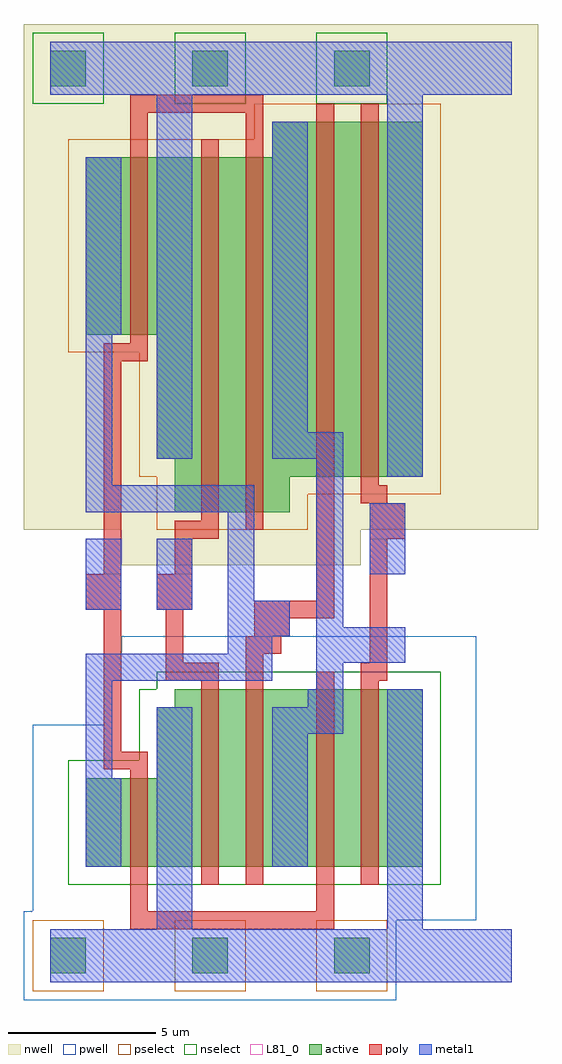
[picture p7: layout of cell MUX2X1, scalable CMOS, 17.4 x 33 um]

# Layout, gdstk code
import gdstk
lib = gdstk.Library(unit=1e-6, precision=1e-09)
def R(c, l, rs):  # rectangles x0, y0, x1, y1
    for r in rs: c.add(gdstk.rectangle(r[:2], r[2:], *l))
def A(c, l, x, y, w, h, nx, ny, dx, dy):  # array of equal rectangles
    R(c, l, [(x+i*dx, y+j*dy, x+i*dx+w, y+j*dy+h) for i in range(nx) for j in range(ny)])
pwell = (41, 0)
nwell = (42, 0)
active = (43, 0)
pselect = (44, 0)
nselect = (45, 0)
poly = (46, 0)
metal1 = (49, 0)
L81_0 = (81, 0)

mux2x1 = lib.new_cell('MUX2X1')
R(mux2x1, pwell, [(-1.5,-1.5,11.1,1.2), (-1.5,1.2,13.8,1.5), (-1.2,1.5,13.8,7.8), (1.2,7.8,13.8,10.2), (1.8,10.2,13.8,10.8)])
R(mux2x1, nwell, [(1.8,13.2,9.9,14.4), (-1.5,14.4,15.9,31.5)])
A(mux2x1, active, -0.6, -0.6, 1.2, 1.2, 3, 2, 4.8, 30)
R(mux2x1, active, [(0.6,3,12,6), (3,6,12,8.4), (3.6,8.4,12,9), (3.6,15,7.5,16.2), (3.6,16.2,12,16.8), (3,16.8,12,21), (0.6,21,12,27), (6.9,27,12,28.2)])
A(mux2x1, pselect, -1.2, -1.2, 2.4, 2.4, 3, 1, 4.8, 0)
R(mux2x1, pselect, [(3,14.4,8.1,15.6), (3,15.6,12.6,16.2), (2.4,16.2,12.6,20.4), (0,20.4,12.6,27.6), (6.3,27.6,12.6,28.8)])
A(mux2x1, nselect, -1.2, 28.8, 2.4, 2.4, 3, 1, 4.8, 0)
R(mux2x1, nselect, [(0,2.4,12.6,6.6), (2.4,6.6,12.6,9), (3,9,12.6,9.6)])
R(mux2x1, poly, [(2.1,0.9,9,1.5), (2.1,1.5,2.7,6.3), (8.4,1.5,9,9.6), (4.5,2.4,5.1,9.3), (6,2.4,6.6,10.2), (9.9,2.4,10.5,9.3), (1.2,6.3,2.7,6.9), (1.2,6.9,1.8,11.7), (3.3,9.3,5.1,9.9), (9.9,9.3,10.8,9.9), (3.3,9.9,3.9,11.7), (10.2,9.9,10.8,14.1), (6,10.2,7.2,10.8), (6.3,10.8,7.5,11.4), (6.3,11.4,9,12), (0.6,11.7,1.8,12.9), (3,11.7,4.2,12.9), (8.4,12,9,28.8), (1.2,12.9,1.8,20.1), (3.6,12.9,4.2,14.1), (3.6,14.1,5.1,14.7), (10.2,14.1,11.4,15.3), (6,14.4,6.6,28.5), (4.5,14.7,5.1,27.6), (9.9,15.3,10.8,15.9), (9.9,15.9,10.5,28.8), (1.2,20.1,2.7,20.7), (2.1,20.7,2.7,28.5), (2.1,28.5,6.6,29.1)])
R(mux2x1, metal1, [(-0.6,-0.9,15,0.9), (3,0.9,4.2,8.4), (10.8,0.9,12,9), (0.6,3,1.8,6), (6.9,3,8.1,7.5), (0.6,6,1.5,9.3), (6.9,7.5,9.3,8.4), (8.1,8.4,9.3,9), (8.4,9,9.3,9.9), (0.6,9.3,6.9,10.2), (8.4,9.9,11.4,11.1), (5.4,10.2,6.9,10.8), (5.4,10.8,7.5,12), (8.4,11.1,9.3,16.8), (0.6,11.7,1.8,14.1), (3,11.7,4.2,14.1), (5.4,12,6.3,15), (10.2,12.9,11.4,15.3), (0.6,15,6.3,15.9), (0.6,15.9,1.5,21), (10.8,16.2,12,29.1), (3,16.8,4.2,29.1), (6.9,16.8,9.3,17.7), (6.9,17.7,8.1,28.2), (0.6,21,1.8,27), (-0.6,29.1,15,30.9)])
R(mux2x1, L81_0, [(10.2,9.9,11.4,11.1), (0.6,12.9,1.8,14.1), (3,12.9,4.2,14.1), (10.2,12.9,11.4,14.1)])

lib.write_gds('MUX2X1.gds')
